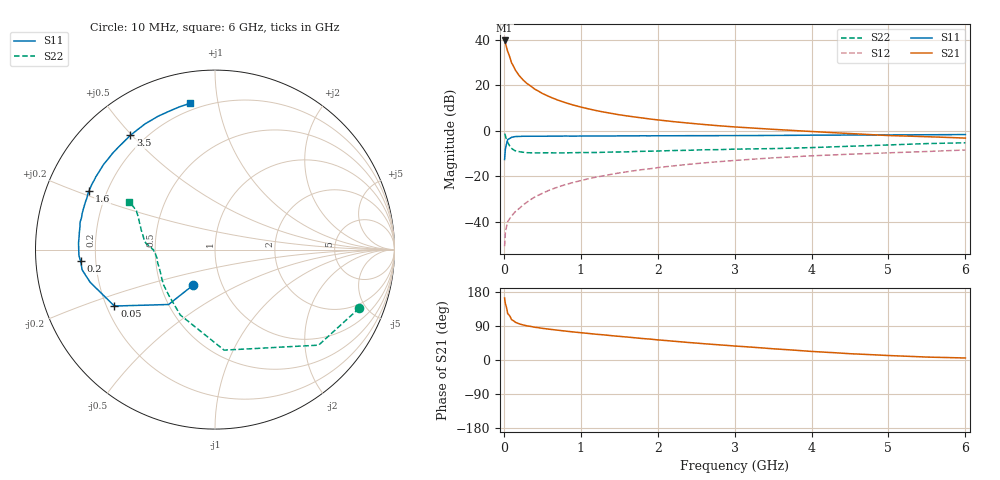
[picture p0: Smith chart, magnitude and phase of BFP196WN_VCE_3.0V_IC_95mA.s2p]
! Infineon Technologies  Discrete & RF Semiconductors
! BFP196WN
! VCE =  3.0 V,  IC =  95 mA
! Common Emitter S-Parameters:  Jan 2017
# GHz  S  MA  R  50
!  f  S11  S21  S12  S22
! GHz  MAG  ANG  MAG  ANG  MAG  ANG  MAG  ANG
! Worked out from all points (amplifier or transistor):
!   77 points, 10 MHz to 6 GHz, reference 50 ohm
!   highest |S21| = 39.8 dB at 10 MHz (marker M1)
!   |S21| within 3 dB of that: start of sweep to 34.9 MHz
!   unconditionally stable (mu >= 1): 442.7 MHz to 2.664 GHz
!   at 130 MHz: K = 0.72, MSG = 32.2 dB, |S12| = -36.3 dB
!   at 2.2 GHz: K = 1.02, MAG = 9.0 dB, |S12| = -15.4 dB
!   at 6 GHz: K = 0.93, MSG = 2.6 dB, |S12| = -8.4 dB
!   S11 on the Smith chart (normalised r, x): 10 MHz: 0.73, -0.31; 50 MHz: 0.23, -0.25; 200 MHz: 0.14, -0.04; 1.6 GHz: 0.13, +0.22; 3.5 GHz: 0.14, +0.50; 6 GHz: 0.16, +0.83
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0.01  0.2337 -121.7  97.18 163.7  0.0029 75.8  0.8673 -22.1
0.02  0.4003 -130.2  85.36 148.4  0.0058 68.3  0.7852 -42.7
0.05  0.6429 -150.7  55.51 122.3  0.01 50.8  0.5624 -84.8
0.1  0.7192 -165.4  31.32 106.4  0.0132 53.6  0.4124 -118.0
0.15  0.7488 -171.3  21.61 99.5  0.0167 56.6  0.3624 -135.2
0.2  0.7514 -175.0  16.35 95.4  0.0196 62.0  0.3477 -145.3
0.25  0.7589 -177.5  13.15 92.5  0.0233 65.4  0.3378 -151.3
0.3  0.759 -179.5  11.01 90.2  0.0269 67.9  0.3304 -156.4
0.4  0.7611 177.3  8.297 86.5  0.0348 70.8  0.3271 -162.1
0.5  0.7606 174.7  6.645 83.6  0.0421 71.2  0.3277 -166.1
0.6  0.7619 172.6  5.551 81.0  0.0502 72.3  0.3282 -169.1
0.7  0.763 170.5  4.752 78.7  0.0576 72.5  0.3264 -171.2
0.9  0.7646 166.4  3.697 74.1  0.0728 71.9  0.3302 -173.9
1.1  0.7674 163.2  3.04 70.1  0.0882 71.4  0.333 -176.4
1.3  0.7692 159.8  2.583 66.3  0.1027 70.0  0.3374 -177.5
1.6  0.7746 155.0  2.127 60.6  0.1255 68.0  0.3446 180.0
2.1  0.7778 147.2  1.666 51.5  0.162 63.8  0.3636 177.3
3.1  0.7848 132.3  1.188 35.6  0.2289 54.7  0.3976 172.5
3.5  0.7925 126.5  1.079 29.6  0.2541 51.3  0.4061 169.7
4.1  0.802 118.0  0.946 21.5  0.2864 45.7  0.433 163.2
5.1  0.8133 107.4  0.778 11.0  0.3321 37.8  0.4953 153.3
6  0.8274 99.5  0.692 5.3  0.3784 31.8  0.5453 151.2
